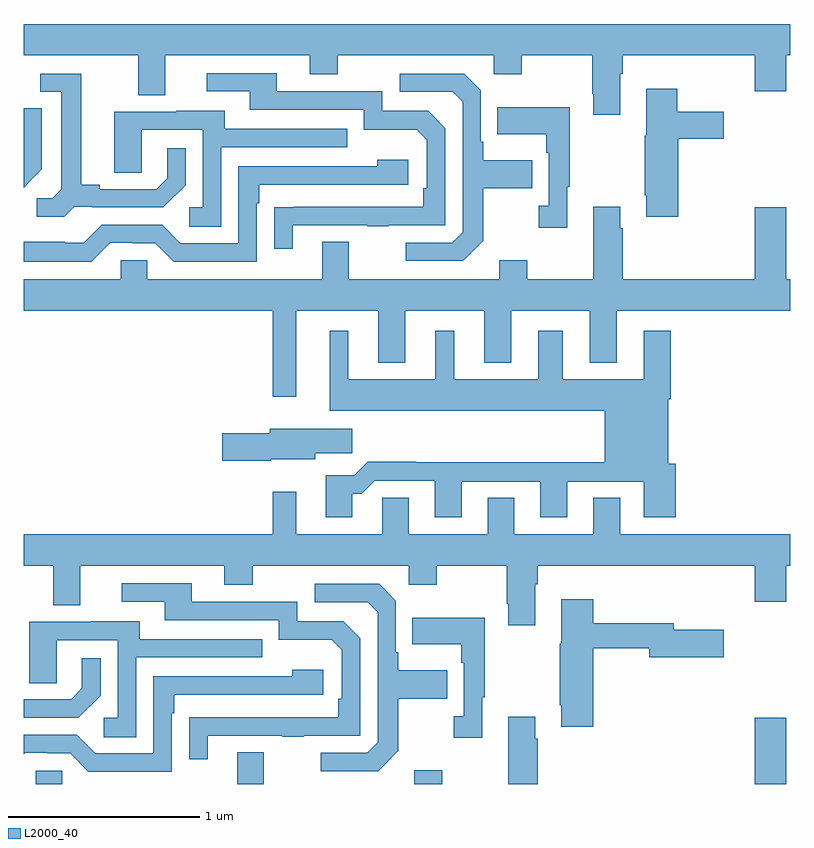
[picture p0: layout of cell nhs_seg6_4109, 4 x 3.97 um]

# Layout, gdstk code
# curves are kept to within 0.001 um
import gdstk
lib = gdstk.Library(unit=1e-6, precision=1e-09)
def R(c, l, rs):  # rectangles x0, y0, x1, y1
    for r in rs: c.add(gdstk.rectangle(r[:2], r[2:], *l))
def P(c, l, *ps):  # polygons
    for p in ps: c.add(gdstk.Polygon(p, *l))
L2000_40 = (2000, 40)

nhs_seg6_4109 = lib.new_cell('nhs_seg6_4109')
R(nhs_seg6_4109, L2000_40, [(353.061,975.5,353.199,975.57), (354.113,975.5,354.253,975.667), (355.037,975.5,355.185,975.571), (356.816,975.5,356.98,975.847)])
P(nhs_seg6_4109, L2000_40, [(353,979.304),(353.597,979.304),(353.597,979.096),(353.737,979.096),(353.737,979.304),(354.491,979.304),(354.491,979.205),(354.639,979.205),(354.639,979.304),(355.452,979.304),(355.452,979.205),(355.599,979.205),(355.599,979.304),(355.966,979.304),(355.966,979.105),(355.973,979.105),(355.973,978.993),(356.113,978.993),(356.113,979.208),(356.126,979.208),(356.126,979.304),(356.816,979.304),(356.816,979.116),(356.98,979.116),(356.98,979.304),(357,979.304),(357,979.468),(353,979.468)],
  [(354.403,978.417),(354.793,978.417),(354.793,978.412),(354.905,978.412),(354.905,978.417),(355.2,978.417),(355.2,978.924),(355.11,979.014),(354.87,979.014),(354.87,979.116),(354.319,979.116),(354.319,979.212),(353.955,979.212),(353.955,979.116),(354.179,979.116),(354.179,979.02),(354.774,979.02),(354.774,978.917),(355.051,978.917),(355.104,978.864),(355.104,978.61),(355.084,978.61),(355.084,978.513),(354.307,978.512),(354.307,978.294),(354.403,978.294)],
  [(355.399,978.337),(355.399,978.61),(355.655,978.61),(355.655,978.757),(355.399,978.757),(355.399,978.853),(355.386,978.853),(355.386,979.122),(355.299,979.209),(354.963,979.209),(354.963,979.113),(355.239,979.113),(355.29,979.062),(355.29,978.381),(355.236,978.327),(354.993,978.327),(354.993,978.231),(355.293,978.231)],
  [(353.262,978.513),(353.356,978.513),(353.356,978.51),(353.728,978.51),(353.844,978.626),(353.844,978.82),(353.747,978.82),(353.747,978.663),(353.69,978.606),(353.395,978.606),(353.395,978.629),(353.299,978.629),(353.299,979.209),(353.085,979.209),(353.085,979.113),(353.195,979.113),(353.195,978.605),(353.148,978.558),(353.067,978.558),(353.067,978.461),(353.21,978.461)],
  [(356.417,978.869),(356.653,978.869),(356.653,979.011),(356.412,979.011),(356.412,979.129),(356.249,979.129),(356.249,978.885),(356.242,978.885),(356.242,978.574),(356.249,978.574),(356.249,978.462),(356.417,978.462)],
  [(355.837,978.617),(355.849,978.617),(355.849,979.033),(355.471,979.033),(355.471,978.893),(355.728,978.893),(355.728,978.797),(355.74,978.797),(355.74,978.518),(355.689,978.518),(355.689,978.405),(355.837,978.405)],
  [(353.022,978.636),(353.021,978.637),(353.094,978.71),(353.094,979.028),(353,979.028),(353,978.614)],
  [(354.03,978.825),(354.689,978.825),(354.689,978.921),(354.049,978.921),(354.049,979.015),(353.795,979.015),(353.795,979.011),(353.471,979.011),(353.471,978.691),(353.616,978.691),(353.616,978.915),(353.934,978.915),(353.934,978.51),(353.862,978.51),(353.862,978.409),(354.03,978.409)],
  [(353.451,978.327),(353.567,978.327),(353.567,978.324),(353.685,978.324),(353.781,978.228),(354.216,978.228),(354.216,978.533),(354.229,978.533),(354.229,978.63),(355.006,978.63),(355.006,978.76),(354.845,978.76),(354.845,978.726),(354.12,978.726),(354.12,978.324),(353.817,978.324),(353.721,978.42),(353.406,978.42),(353.313,978.327),(353.213,978.327),(353.213,978.331),(353,978.331),(353,978.227),(353.351,978.227)],
  [(354.421,977.972),(354.851,977.972),(354.851,977.699),(354.991,977.699),(354.991,977.972),(355.403,977.972),(355.403,977.699),(355.543,977.699),(355.543,977.972),(355.955,977.972),(355.955,977.699),(356.095,977.699),(356.095,977.972),(357,977.972),(357,978.136),(356.98,978.136),(356.98,978.511),(356.816,978.511),(356.816,978.136),(356.126,978.136),(356.126,978.401),(356.113,978.401),(356.113,978.514),(355.973,978.514),(355.973,978.136),(355.629,978.136),(355.629,978.235),(355.481,978.235),(355.481,978.136),(354.697,978.136),(354.697,978.331),(354.557,978.331),(354.557,978.136),(353.643,978.136),(353.643,978.234),(353.505,978.234),(353.505,978.136),(353,978.136),(353,977.972),(354.3,977.972),(354.3,977.523),(354.421,977.523)],
  [(354.715,977.015),(354.764,977.015),(354.831,977.082),(355.145,977.082),(355.145,976.893),(355.285,976.893),(355.285,977.079),(355.697,977.079),(355.697,976.893),(355.837,976.893),(355.837,977.079),(356.237,977.079),(356.237,976.893),(356.402,976.893),(356.402,977.172),(356.365,977.172),(356.365,977.51),(356.378,977.51),(356.378,977.866),(356.237,977.866),(356.237,977.614),(355.813,977.614),(355.813,977.866),(355.685,977.866),(355.685,977.614),(355.246,977.614),(355.246,977.866),(355.148,977.866),(355.148,977.614),(354.694,977.614),(354.694,977.866),(354.596,977.866),(354.596,977.45),(356.033,977.45),(356.033,977.18),(355.049,977.18),(355.049,977.183),(354.794,977.183),(354.724,977.113),(354.575,977.113),(354.575,976.893),(354.715,976.893)],
  [(354.288,977.195),(354.52,977.195),(354.52,977.227),(354.715,977.227),(354.715,977.356),(354.284,977.356),(354.284,977.33),(354.036,977.33),(354.036,977.188),(354.288,977.188)],
  [(354.87,976.804),(354.421,976.804),(354.421,977.026),(354.3,977.026),(354.3,976.804),(353,976.804),(353,976.64),(353.153,976.64),(353.153,976.432),(353.293,976.432),(353.293,976.64),(354.047,976.64),(354.047,976.541),(354.195,976.541),(354.195,976.64),(355.008,976.64),(355.008,976.541),(355.155,976.541),(355.155,976.64),(355.522,976.64),(355.522,976.441),(355.529,976.441),(355.529,976.329),(355.669,976.329),(355.669,976.544),(355.682,976.544),(355.682,976.64),(356.816,976.64),(356.816,976.452),(356.98,976.452),(356.98,976.64),(357,976.64),(357,976.804),(356.113,976.804),(356.113,976.994),(355.973,976.994),(355.973,976.804),(355.561,976.804),(355.561,976.994),(355.421,976.994),(355.421,976.804),(355.009,976.804),(355.009,976.994),(354.87,976.994)],
  [(353.959,975.753),(354.349,975.753),(354.349,975.748),(354.461,975.748),(354.461,975.753),(354.756,975.753),(354.756,976.26),(354.666,976.35),(354.426,976.35),(354.426,976.452),(353.875,976.452),(353.875,976.548),(353.511,976.548),(353.511,976.452),(353.735,976.452),(353.735,976.356),(354.33,976.356),(354.33,976.253),(354.607,976.253),(354.66,976.2),(354.66,975.946),(354.64,975.946),(354.64,975.849),(353.863,975.848),(353.863,975.63),(353.959,975.63)],
  [(354.955,975.673),(354.955,975.946),(355.211,975.946),(355.211,976.093),(354.955,976.093),(354.955,976.189),(354.942,976.189),(354.942,976.458),(354.855,976.545),(354.519,976.545),(354.519,976.449),(354.795,976.449),(354.846,976.398),(354.846,975.717),(354.792,975.663),(354.549,975.663),(354.549,975.567),(354.849,975.567)],
  [(355.973,976.21),(356.264,976.21),(356.264,976.163),(356.653,976.163),(356.653,976.305),(356.392,976.305),(356.392,976.339),(355.973,976.339),(355.973,976.465),(355.805,976.465),(355.805,976.233),(355.798,976.233),(355.798,975.91),(355.805,975.91),(355.805,975.798),(355.973,975.798)],
  [(355.393,975.953),(355.405,975.953),(355.405,976.369),(355.027,976.369),(355.027,976.229),(355.284,976.229),(355.284,976.133),(355.296,976.133),(355.296,975.854),(355.245,975.854),(355.245,975.741),(355.393,975.741)],
  [(353.586,976.161),(354.245,976.161),(354.245,976.257),(353.605,976.257),(353.605,976.351),(353.351,976.351),(353.351,976.347),(353.027,976.347),(353.027,976.027),(353.172,976.027),(353.172,976.251),(353.49,976.251),(353.49,975.846),(353.418,975.846),(353.418,975.745),(353.586,975.745)],
  [(353.4,975.962),(353.4,976.156),(353.303,976.156),(353.303,975.999),(353.246,975.942),(353,975.942),(353,975.846),(353.284,975.846)],
  [(353.772,975.869),(353.785,975.869),(353.785,975.966),(354.562,975.966),(354.562,976.096),(354.401,976.096),(354.401,976.062),(353.676,976.062),(353.676,975.66),(353.373,975.66),(353.277,975.756),(353,975.756),(353,975.656),(353.007,975.663),(353.123,975.663),(353.123,975.66),(353.241,975.66),(353.337,975.564),(353.772,975.564)],
  [(355.682,975.737),(355.669,975.737),(355.669,975.85),(355.529,975.85),(355.529,975.5),(355.682,975.5)])

lib.write_gds('nhs_seg6_4109.gds')
